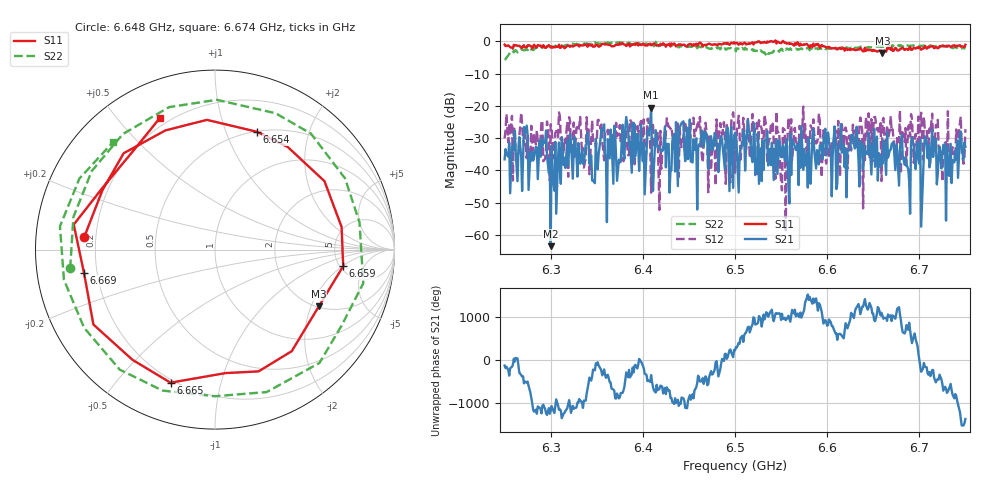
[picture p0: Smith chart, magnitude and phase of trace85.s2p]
# Hz S RI R 50
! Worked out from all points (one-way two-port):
!   401 points, 6.25 GHz to 6.75 GHz, reference 50 ohm
!   highest |S21| = -20.57 dB at 6.409 GHz (marker M1); lowest = -63.5 dB at 6.3 GHz (marker M2)
!   lowest |S11| = -3.6 dB at 6.66 GHz (marker M3), VSWR 4.87, Z = 102 - j114 ohm
!   |S11| at or under -10 dB: nowhere
!   |S22| runs from -5.7 to -0.1 dB; largest |S21 - S12| = 0.12
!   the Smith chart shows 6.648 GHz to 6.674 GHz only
!   S11 on the Smith chart (normalised r, x): 6.648 GHz: 0.16, +0.05; 6.654 GHz: 0.51, +1.29; 6.659 GHz: 5.33, -2.05; 6.665 GHz: 0.18, -0.70; 6.669 GHz: 0.15, -0.09; 6.674 GHz: 0.16, +0.65
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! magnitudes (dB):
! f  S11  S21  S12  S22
! 6.25 GHz  -1.0  -36.6  -30.1  -5.7
! 6.292 GHz  -1.1  -31.0  -37.2  -1.9
! 6.3 GHz  -1.9  -63.5  -25.7  -1.1
! 6.334 GHz  -1.3  -33.4  -34.9  -0.8
! 6.409 GHz  -1.2  -20.6  -46.9  -0.8
! 6.418 GHz  -1.2  -32.9  -52.3  -1.2
! 6.429 GHz  -0.7  -46.9  -26.6  -1.0
! 6.441 GHz  -0.9  -26.0  -30.5  -1.6
! 6.5 GHz  -0.6  -28.3  -40.7  -2.3
! 6.54 GHz  0.0  -31.4  -27.7  -3.5
! 6.552 GHz  0.2  -32.3  -26.9  -2.9
! 6.559 GHz  -0.8  -50.3  -27.4  -2.6
! 6.584 GHz  -1.7  -29.3  -27.5  -2.4
! 6.648 GHz  -2.7  -41.3  -24.1  -1.8
! 6.654 GHz  -3.1  -29.5  -27.4  -1.6
! 6.659 GHz  -2.9  -35.5  -43.3  -1.7
! 6.66 GHz  -3.6  -38.0  -24.9  -1.4
! 6.665 GHz  -2.1  -28.0  -26.0  -1.8
! 6.668 GHz  -2.0  -33.8  -27.6  -1.4
! 6.669 GHz  -2.6  -33.6  -23.1  -1.4
! 6.674 GHz  -2.0  -39.9  -34.6  -1.7
! 6.75 GHz  -1.0  -32.7  -27.2  -2.3
